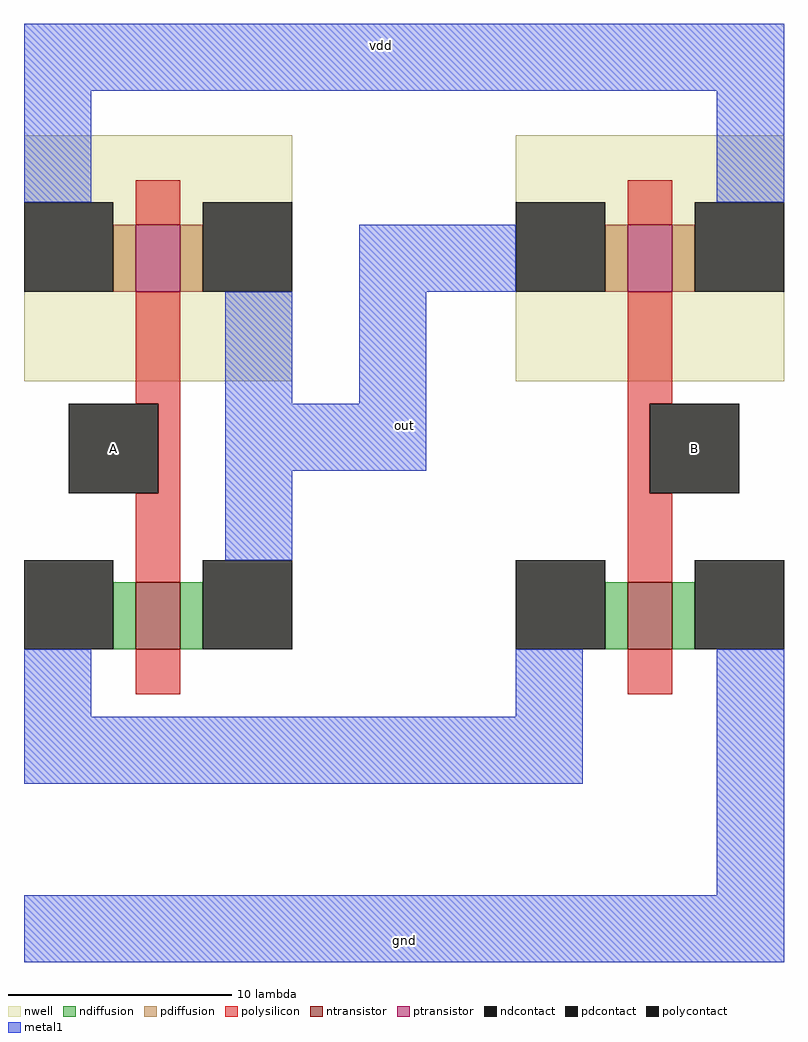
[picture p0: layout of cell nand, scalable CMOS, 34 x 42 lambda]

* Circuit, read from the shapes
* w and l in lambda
.subckt nand A B gnd out vdd
M1 out A n1 VSUBS nfet w=3 l=2
M2 gnd B n1 VSUBS nfet w=3 l=2
M3 out A vdd n2 pfet w=3 l=2
M4 vdd B out n3 pfet w=3 l=2
.ends

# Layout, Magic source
magic
tech scmos
<< nwell >>
rect -17 4 -5 15
rect 5 4 17 15
<< polysilicon >>
rect -12 11 -10 13
rect 10 11 12 13
rect -12 3 -10 8
rect -11 -1 -10 3
rect -12 -5 -10 -1
rect 10 3 12 8
rect 10 -1 11 3
rect 10 -5 12 -1
rect -12 -10 -10 -8
rect 10 -10 12 -8
<< ndiffusion >>
rect -13 -8 -12 -5
rect -10 -8 -9 -5
rect 9 -8 10 -5
rect 12 -8 13 -5
<< pdiffusion >>
rect -13 8 -12 11
rect -10 8 -9 11
rect 9 8 10 11
rect 12 8 13 11
<< metal1 >>
rect -17 17 17 20
rect -17 12 -14 17
rect 14 12 17 17
rect -8 3 -5 8
rect -2 8 5 11
rect -2 3 1 8
rect -8 0 1 3
rect -8 -4 -5 0
rect -17 -11 -14 -8
rect 5 -11 8 -8
rect -17 -14 8 -11
rect 14 -19 17 -8
rect -17 -22 17 -19
<< ntransistor >>
rect -12 -8 -10 -5
rect 10 -8 12 -5
<< ptransistor >>
rect -12 8 -10 11
rect 10 8 12 11
<< polycontact >>
rect -15 -1 -11 3
rect 11 -1 15 3
<< ndcontact >>
rect -17 -8 -13 -4
rect -9 -8 -5 -4
rect 5 -8 9 -4
rect 13 -8 17 -4
<< pdcontact >>
rect -17 8 -13 12
rect -9 8 -5 12
rect 5 8 9 12
rect 13 8 17 12
<< labels >>
rlabel polycontact -13 1 -13 1 3 A
rlabel polycontact 13 1 13 1 7 B
rlabel metal1 -1 19 -1 19 5 vdd
rlabel metal1 0 -21 0 -21 1 gnd
rlabel metal1 0 2 0 2 1 out
<< end >>
